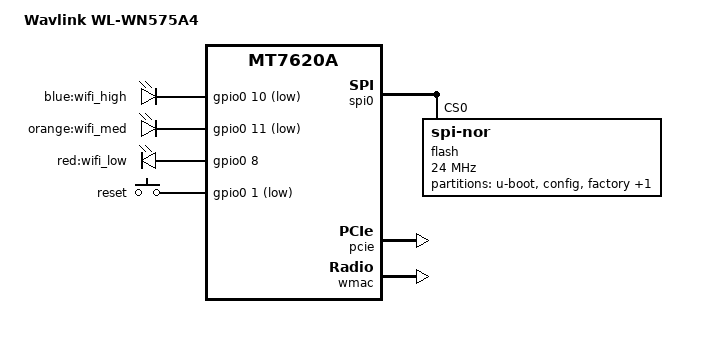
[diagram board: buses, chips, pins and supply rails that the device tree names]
// SPDX-License-Identifier: GPL-2.0-or-later
// Wavlink WL-WN575A4 (Aerial X, UK). Placa "575A4_530H4" derivada do WL-WN530HG4.
// SoC, RAM, flash, partições e EEPROMs confirmados pelo log de arranque.
// LEDs e botão reset herdados do WN530HG4: por confirmar.

#include "mt7620a.dtsi"

#include <dt-bindings/gpio/gpio.h>
#include <dt-bindings/input/input.h>

/ {
	compatible = "wavlink,wl-wn575a4", "ralink,mt7620a-soc";
	model = "Wavlink WL-WN575A4";

	aliases {
		led-boot = &led_wifi_high;
		led-failsafe = &led_wifi_high;
		led-running = &led_wifi_high;
		led-upgrade = &led_wifi_high;
	};

	leds {
		compatible = "gpio-leds";

		led_wifi_high: wifi_high {
			label = "blue:wifi_high";
			gpios = <&gpio0 10 GPIO_ACTIVE_LOW>;
		};

		wifi_med {
			label = "orange:wifi_med";
			gpios = <&gpio0 11 GPIO_ACTIVE_LOW>;
		};

		wifi_low {
			label = "red:wifi_low";
			gpios = <&gpio0 8 GPIO_ACTIVE_HIGH>;
		};
	};

	keys {
		compatible = "gpio-keys";

		reset {
			label = "reset";
			gpios = <&gpio0 1 GPIO_ACTIVE_LOW>;
			linux,code = <KEY_RESTART>;
		};
	};
};

&spi0 {
	status = "okay";

	flash@0 {
		compatible = "jedec,spi-nor";
		reg = <0>;
		spi-max-frequency = <24000000>;

		partitions {
			compatible = "fixed-partitions";
			#address-cells = <1>;
			#size-cells = <1>;

			partition@0 {
				label = "u-boot";
				reg = <0x0 0x30000>;
				read-only;
			};

			partition@30000 {
				label = "config";
				reg = <0x30000 0x10000>;
				read-only;
			};

			factory: partition@40000 {
				label = "factory";
				reg = <0x40000 0x10000>;
				read-only;
			};

			partition@50000 {
				compatible = "denx,uimage";
				label = "firmware";
				reg = <0x50000 0x7b0000>;
			};
		};
	};
};

&state_default {
	gpio {
		groups = "i2c", "uartf";
		function = "gpio";
	};
};

&ethernet {
	pinctrl-names = "default";
	pinctrl-0 = <&ephy_pins>;

	nvmem-cells = <&macaddr_factory_28>;
	nvmem-cell-names = "mac-address";

	mediatek,portmap = "llllw";
};

&pcie {
	status = "okay";
};

&pcie0 {
	mt76@0,0 {
		reg = <0x0000 0 0 0 0>;
		mediatek,mtd-eeprom = <&factory 0x8000>;
		ieee80211-freq-limit = <5000000 6000000>;
	};
};

&wmac {
	pinctrl-names = "default", "pa_gpio";
	pinctrl-0 = <&pa_pins>;
	pinctrl-1 = <&pa_gpio_pins>;

	ralink,mtd-eeprom = <&factory 0x0>;
};

&factory {
	compatible = "nvmem-cells";
	#address-cells = <1>;
	#size-cells = <1>;

	macaddr_factory_28: macaddr@28 {
		reg = <0x28 0x6>;
	};
};
